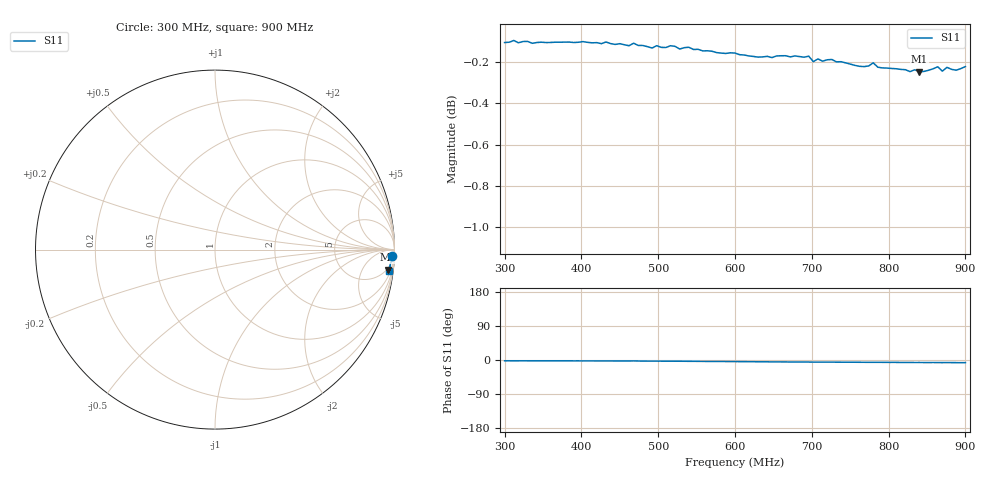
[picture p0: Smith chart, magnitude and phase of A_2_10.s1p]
# HZ S RI R 50
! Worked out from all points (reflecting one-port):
!   101 points, 300 MHz to 900 MHz, reference 50 ohm
!   lowest |S11| = -0.2 dB at 840 MHz (marker M1), VSWR 70.58, Z = 203 - j821 ohm
!   phase of S11 starts at -2 deg and turns -5 deg over the sweep
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3e8  0.9874 -0.0371
3.78e8  0.9875 -0.0386
4.5e8  0.9864 -0.0442
4.62e8  0.9852 -0.0462
4.68e8  0.9869 -0.0399
4.74e8  0.9853 -0.047
4.8e8  0.9852 -0.0487
5.28e8  0.9829 -0.0562
6e8  0.9797 -0.0714
6.48e8  0.9761 -0.0846
6.78e8  0.9766 -0.09
6.96e8  0.9762 -0.0921
7.02e8  0.9729 -0.0956
7.14e8  0.9732 -0.0946
7.5e8  0.9711 -0.0999
7.68e8  0.9694 -0.1026
7.8e8  0.9713 -0.105
7.86e8  0.9689 -0.1045
8.28e8  0.966 -0.1088
8.34e8  0.9666 -0.1121
8.4e8  0.9657 -0.1112
8.52e8  0.9661 -0.1147
8.58e8  0.9671 -0.1124
8.64e8  0.9679 -0.1156
8.7e8  0.9654 -0.1165
8.76e8  0.9678 -0.1138
8.88e8  0.9658 -0.117
9e8  0.9677 -0.1182
